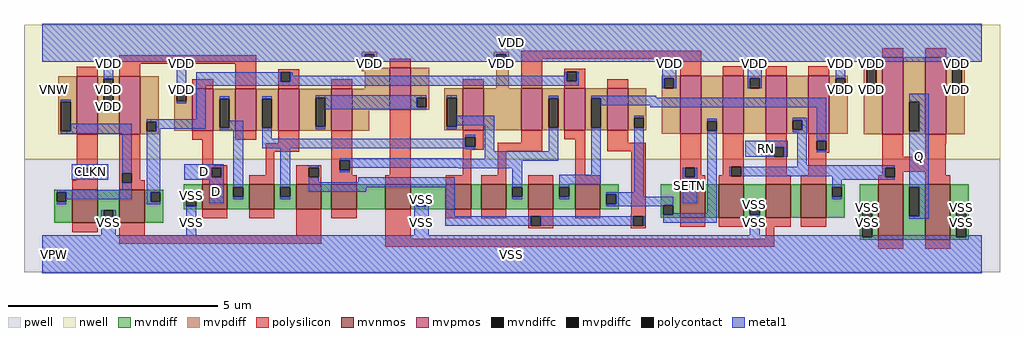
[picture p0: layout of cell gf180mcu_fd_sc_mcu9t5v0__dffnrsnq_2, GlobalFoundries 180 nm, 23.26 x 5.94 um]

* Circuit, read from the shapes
.subckt gf180mcu_fd_sc_mcu9t5v0__dffnrsnq_2 D RN SETN CLKN Q VDD VNW VPW VSS
XM1 VSS CLKN n1 VPW nfet_06v0 w=0.79u l=0.6u
XM2 n2 n1 VSS VPW nfet_06v0 w=0.79u l=0.6u
XM3 n3 D VSS VPW nfet_06v0 w=0.59u l=0.6u
XM4 n4 n2 n3 VPW nfet_06v0 w=0.59u l=0.6u
XM5 n5 n1 n4 VPW nfet_06v0 w=0.59u l=0.6u
XM6 n6 n7 n5 VPW nfet_06v0 w=0.59u l=0.6u
XM7 VSS RN n6 VPW nfet_06v0 w=0.59u l=0.6u
XM8 n8 n4 VSS VPW nfet_06v0 w=0.59u l=0.6u
XM9 n7 SETN n8 VPW nfet_06v0 w=0.59u l=0.6u
XM10 n9 n1 n7 VPW nfet_06v0 w=0.59u l=0.6u
XM11 n10 n2 n9 VPW nfet_06v0 w=0.59u l=0.6u
XM12 n11 SETN n10 VPW nfet_06v0 w=0.79u l=0.6u
XM13 VSS n12 n11 VPW nfet_06v0 w=0.79u l=0.6u
XM14 n13 RN VSS VPW nfet_06v0 w=0.79u l=0.6u
XM15 n12 n9 n13 VPW nfet_06v0 w=0.79u l=0.6u
XM16 Q n12 VSS VPW nfet_06v0 w=1.32u l=0.6u m=2
XM17 VDD CLKN n1 VNW pfet_06v0 w=1.38u l=0.5u
XM18 n2 n1 VDD VNW pfet_06v0 w=1.38u l=0.5u
XM19 n3 D VDD VNW pfet_06v0 w=1u l=0.5u
XM20 n4 n1 n3 VNW pfet_06v0 w=1u l=0.5u
XM21 n14 n2 n4 VNW pfet_06v0 w=1u l=0.5u
XM22 VDD n7 n14 VNW pfet_06v0 w=1u l=0.5u
XM23 n14 RN VDD VNW pfet_06v0 w=1u l=0.5u
XM24 VDD n4 n7 VNW pfet_06v0 w=1u l=0.5u
XM25 n7 SETN VDD VNW pfet_06v0 w=1u l=0.5u
XM26 n9 n2 n7 VNW pfet_06v0 w=1u l=0.5u
XM27 n10 n1 n9 VNW pfet_06v0 w=1u l=0.5u
XM28 n10 SETN VDD VNW pfet_06v0 w=1.38u l=0.5u
XM29 VDD n12 n10 VNW pfet_06v0 w=1.38u l=0.5u
XM30 n12 RN VDD VNW pfet_06v0 w=1.38u l=0.5u
XM31 VDD n9 n12 VNW pfet_06v0 w=1.38u l=0.5u
XM32 Q n12 VDD VNW pfet_06v0 w=1.83u l=0.5u m=2
.ends

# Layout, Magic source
magic
tech gf180mcuD
magscale 1 10
<< nwell >>
rect -86 453 4566 1094
<< pwell >>
rect -86 -86 4566 453
<< mvnmos >>
rect 145 150 265 308
rect 369 150 489 308
rect 763 215 883 333
rect 987 215 1107 333
rect 1211 215 1331 333
rect 1379 215 1499 333
rect 1637 215 1757 333
rect 1925 215 2045 333
rect 2093 215 2213 333
rect 2317 215 2437 333
rect 2541 215 2661 333
rect 3041 175 3161 333
rect 3225 175 3345 333
rect 3449 175 3569 333
rect 3617 175 3737 333
rect 3985 69 4105 333
rect 4209 69 4329 333
<< mvpmos >>
rect 165 573 265 849
rect 369 573 469 849
rect 717 589 817 789
rect 921 589 1021 789
rect 1125 589 1225 789
rect 1379 589 1479 789
rect 1657 688 1757 888
rect 2005 591 2105 791
rect 2285 591 2385 791
rect 2489 591 2589 791
rect 2693 591 2793 791
rect 3041 575 3141 851
rect 3245 575 3345 851
rect 3449 575 3549 851
rect 3653 575 3753 851
rect 4005 573 4105 939
rect 4209 573 4309 939
<< mvndiff >>
rect 57 295 145 308
rect 57 249 70 295
rect 116 249 145 295
rect 57 150 145 249
rect 265 209 369 308
rect 265 163 294 209
rect 340 163 369 209
rect 265 150 369 163
rect 489 295 577 308
rect 489 249 518 295
rect 564 249 577 295
rect 489 150 577 249
rect 675 274 763 333
rect 675 228 688 274
rect 734 228 763 274
rect 675 215 763 228
rect 883 320 987 333
rect 883 274 912 320
rect 958 274 987 320
rect 883 215 987 274
rect 1107 320 1211 333
rect 1107 274 1136 320
rect 1182 274 1211 320
rect 1107 215 1211 274
rect 1331 215 1379 333
rect 1499 215 1637 333
rect 1757 274 1925 333
rect 1757 228 1786 274
rect 1832 228 1925 274
rect 1757 215 1925 228
rect 2045 215 2093 333
rect 2213 320 2317 333
rect 2213 274 2242 320
rect 2288 274 2317 320
rect 2213 215 2317 274
rect 2437 320 2541 333
rect 2437 274 2466 320
rect 2512 274 2541 320
rect 2437 215 2541 274
rect 2661 285 2749 333
rect 2661 239 2690 285
rect 2736 239 2749 285
rect 2661 215 2749 239
rect 2949 234 3041 333
rect 2949 188 2962 234
rect 3008 188 3041 234
rect 2949 175 3041 188
rect 3161 175 3225 333
rect 3345 234 3449 333
rect 3345 188 3374 234
rect 3420 188 3449 234
rect 3345 175 3449 188
rect 3569 175 3617 333
rect 3737 320 3825 333
rect 3737 274 3766 320
rect 3812 274 3825 320
rect 3737 175 3825 274
rect 3897 222 3985 333
rect 3897 82 3910 222
rect 3956 82 3985 222
rect 3897 69 3985 82
rect 4105 320 4209 333
rect 4105 180 4134 320
rect 4180 180 4209 320
rect 4105 69 4209 180
rect 4329 222 4417 333
rect 4329 82 4358 222
rect 4404 82 4417 222
rect 4329 69 4417 82
<< mvpdiff >>
rect 1525 953 1597 966
rect 77 726 165 849
rect 77 586 90 726
rect 136 586 165 726
rect 77 573 165 586
rect 265 836 369 849
rect 265 696 294 836
rect 340 696 369 836
rect 265 573 369 696
rect 469 632 557 849
rect 1525 907 1538 953
rect 1584 907 1597 953
rect 2153 953 2225 966
rect 1525 888 1597 907
rect 2153 907 2166 953
rect 2212 907 2225 953
rect 2153 894 2225 907
rect 1525 872 1657 888
rect 1539 789 1657 872
rect 469 586 498 632
rect 544 586 557 632
rect 629 776 717 789
rect 629 730 642 776
rect 688 730 717 776
rect 629 589 717 730
rect 817 742 921 789
rect 817 602 846 742
rect 892 602 921 742
rect 817 589 921 602
rect 1021 742 1125 789
rect 1021 602 1050 742
rect 1096 602 1125 742
rect 1021 589 1125 602
rect 1225 747 1379 789
rect 1225 607 1304 747
rect 1350 607 1379 747
rect 1225 589 1379 607
rect 1479 688 1657 789
rect 1757 747 1845 888
rect 2165 791 2225 894
rect 3917 926 4005 939
rect 2953 838 3041 851
rect 2953 792 2966 838
rect 3012 792 3041 838
rect 1757 701 1786 747
rect 1832 701 1845 747
rect 1757 688 1845 701
rect 1917 747 2005 791
rect 1479 589 1559 688
rect 469 573 557 586
rect 1917 607 1930 747
rect 1976 607 2005 747
rect 1917 591 2005 607
rect 2105 591 2285 791
rect 2385 744 2489 791
rect 2385 604 2414 744
rect 2460 604 2489 744
rect 2385 591 2489 604
rect 2589 744 2693 791
rect 2589 604 2618 744
rect 2664 604 2693 744
rect 2589 591 2693 604
rect 2793 650 2881 791
rect 2793 604 2822 650
rect 2868 604 2881 650
rect 2793 591 2881 604
rect 2953 575 3041 792
rect 3141 634 3245 851
rect 3141 588 3170 634
rect 3216 588 3245 634
rect 3141 575 3245 588
rect 3345 838 3449 851
rect 3345 792 3374 838
rect 3420 792 3449 838
rect 3345 575 3449 792
rect 3549 639 3653 851
rect 3549 593 3578 639
rect 3624 593 3653 639
rect 3549 575 3653 593
rect 3753 838 3841 851
rect 3753 792 3782 838
rect 3828 792 3841 838
rect 3753 575 3841 792
rect 3917 786 3930 926
rect 3976 786 4005 926
rect 3917 573 4005 786
rect 4105 726 4209 939
rect 4105 586 4134 726
rect 4180 586 4209 726
rect 4105 573 4209 586
rect 4309 926 4397 939
rect 4309 786 4338 926
rect 4384 786 4397 926
rect 4309 573 4397 786
<< mvndiffc >>
rect 70 249 116 295
rect 294 163 340 209
rect 518 249 564 295
rect 688 228 734 274
rect 912 274 958 320
rect 1136 274 1182 320
rect 1786 228 1832 274
rect 2242 274 2288 320
rect 2466 274 2512 320
rect 2690 239 2736 285
rect 2962 188 3008 234
rect 3374 188 3420 234
rect 3766 274 3812 320
rect 3910 82 3956 222
rect 4134 180 4180 320
rect 4358 82 4404 222
<< mvpdiffc >>
rect 90 586 136 726
rect 294 696 340 836
rect 1538 907 1584 953
rect 2166 907 2212 953
rect 498 586 544 632
rect 642 730 688 776
rect 846 602 892 742
rect 1050 602 1096 742
rect 1304 607 1350 747
rect 2966 792 3012 838
rect 1786 701 1832 747
rect 1930 607 1976 747
rect 2414 604 2460 744
rect 2618 604 2664 744
rect 2822 604 2868 650
rect 3170 588 3216 634
rect 3374 792 3420 838
rect 3578 593 3624 639
rect 3782 792 3828 838
rect 3930 786 3976 926
rect 4134 586 4180 726
rect 4338 786 4384 926
<< polysilicon >>
rect 369 909 1021 949
rect 165 849 265 893
rect 369 849 469 909
rect 717 789 817 833
rect 921 789 1021 909
rect 1657 888 1757 932
rect 1125 868 1225 881
rect 1125 822 1138 868
rect 1184 822 1225 868
rect 1125 789 1225 822
rect 1379 789 1479 833
rect 2005 791 2105 835
rect 2285 931 3141 971
rect 4005 939 4105 983
rect 4209 939 4309 983
rect 2285 791 2385 931
rect 2489 870 2589 883
rect 2489 824 2502 870
rect 2548 824 2589 870
rect 3041 851 3141 931
rect 3245 851 3345 895
rect 3449 851 3549 895
rect 3653 851 3753 895
rect 2489 791 2589 824
rect 2693 791 2793 835
rect 165 411 265 573
rect 165 365 178 411
rect 224 365 265 411
rect 165 352 265 365
rect 145 308 265 352
rect 369 387 469 573
rect 717 545 817 589
rect 921 545 1021 589
rect 369 341 382 387
rect 428 352 469 387
rect 763 425 817 545
rect 1125 529 1225 589
rect 1067 489 1225 529
rect 763 412 883 425
rect 763 366 809 412
rect 855 366 883 412
rect 1067 377 1107 489
rect 1379 447 1479 589
rect 428 341 489 352
rect 369 308 489 341
rect 763 333 883 366
rect 987 333 1107 377
rect 1211 412 1331 425
rect 1211 366 1272 412
rect 1318 366 1331 412
rect 1211 333 1331 366
rect 1379 401 1420 447
rect 1466 401 1479 447
rect 1379 377 1479 401
rect 1657 377 1757 688
rect 2005 558 2105 591
rect 2005 512 2018 558
rect 2064 512 2105 558
rect 2285 531 2385 591
rect 2489 547 2589 591
rect 2005 499 2105 512
rect 2005 377 2045 499
rect 2173 491 2385 531
rect 2173 377 2213 491
rect 2541 377 2589 547
rect 2693 531 2793 591
rect 2693 491 2878 531
rect 1379 333 1499 377
rect 1637 333 1757 377
rect 1925 333 2045 377
rect 2093 333 2213 377
rect 2317 333 2437 377
rect 2541 333 2661 377
rect 763 171 883 215
rect 987 171 1107 215
rect 145 106 265 150
rect 369 90 489 150
rect 1211 90 1331 215
rect 1379 171 1499 215
rect 369 50 1331 90
rect 1637 75 1757 215
rect 1925 171 2045 215
rect 2093 171 2213 215
rect 2317 182 2437 215
rect 2317 136 2330 182
rect 2376 136 2437 182
rect 2541 171 2661 215
rect 2809 190 2878 491
rect 3041 412 3141 575
rect 3041 366 3065 412
rect 3111 377 3141 412
rect 3245 418 3345 575
rect 3245 377 3286 418
rect 3111 366 3161 377
rect 3041 333 3161 366
rect 3225 372 3286 377
rect 3332 372 3345 418
rect 3225 333 3345 372
rect 3449 510 3549 575
rect 3449 464 3490 510
rect 3536 464 3549 510
rect 3449 377 3549 464
rect 3653 542 3753 575
rect 3653 496 3692 542
rect 3738 496 3753 542
rect 3653 483 3753 496
rect 3653 377 3737 483
rect 4005 465 4105 573
rect 4209 529 4309 573
rect 4209 465 4308 529
rect 4005 412 4308 465
rect 4005 377 4018 412
rect 3449 333 3569 377
rect 3617 333 3737 377
rect 3985 366 4018 377
rect 4064 393 4308 412
rect 4064 366 4105 393
rect 3985 333 4105 366
rect 4209 377 4308 393
rect 4209 333 4329 377
rect 2806 182 2878 190
rect 2317 123 2437 136
rect 2806 136 2819 182
rect 2865 136 2878 182
rect 2806 123 2878 136
rect 3041 131 3161 175
rect 3225 131 3345 175
rect 3449 131 3569 175
rect 3617 131 3737 175
rect 3449 75 3489 131
rect 1637 35 3489 75
rect 3985 25 4105 69
rect 4209 25 4329 69
<< polycontact >>
rect 1138 822 1184 868
rect 2502 824 2548 870
rect 178 365 224 411
rect 382 341 428 387
rect 809 366 855 412
rect 1272 366 1318 412
rect 1420 401 1466 447
rect 2018 512 2064 558
rect 2330 136 2376 182
rect 3065 366 3111 412
rect 3286 372 3332 418
rect 3490 464 3536 510
rect 3692 496 3738 542
rect 4018 366 4064 412
rect 2819 136 2865 182
<< metal1 >>
rect 0 953 4480 1098
rect 0 918 1538 953
rect 294 836 340 918
rect 90 726 136 737
rect 642 776 688 918
rect 1584 918 2166 953
rect 1538 896 1584 907
rect 2212 926 4480 953
rect 2212 918 3930 926
rect 2166 896 2212 907
rect 642 719 688 730
rect 734 822 1138 868
rect 1184 850 1195 868
rect 2491 850 2502 870
rect 1184 824 2502 850
rect 2548 824 2559 870
rect 1184 822 2559 824
rect 734 804 2559 822
rect 2955 838 3023 918
rect 294 685 340 696
rect 734 643 780 804
rect 2955 792 2966 838
rect 3012 792 3023 838
rect 3363 838 3431 918
rect 3363 792 3374 838
rect 3420 792 3431 838
rect 3782 838 3828 918
rect 3782 781 3828 792
rect 3976 918 4338 926
rect 3930 775 3976 786
rect 4384 918 4480 926
rect 4338 775 4384 786
rect 498 632 780 643
rect 136 586 428 621
rect 90 575 428 586
rect 142 411 316 430
rect 142 365 178 411
rect 224 365 316 411
rect 142 354 316 365
rect 382 387 428 575
rect 382 308 428 341
rect 70 295 428 308
rect 116 262 428 295
rect 544 597 780 632
rect 846 742 892 753
rect 1050 742 1096 753
rect 892 602 958 637
rect 544 586 564 597
rect 846 591 958 602
rect 498 295 564 586
rect 678 412 866 430
rect 678 366 809 412
rect 855 366 866 412
rect 678 354 866 366
rect 70 238 116 249
rect 498 249 518 295
rect 498 238 564 249
rect 688 274 734 285
rect 798 242 866 354
rect 912 320 958 591
rect 1050 550 1096 602
rect 1304 747 1832 758
rect 1350 701 1786 747
rect 1350 690 1832 701
rect 1930 747 1976 758
rect 1304 596 1350 607
rect 2414 744 2460 755
rect 1976 615 2156 661
rect 1930 596 1976 607
rect 2018 558 2064 569
rect 1050 512 2018 550
rect 1050 504 2064 512
rect 912 263 958 274
rect 1136 320 1182 504
rect 2018 501 2064 504
rect 2110 491 2156 615
rect 2414 491 2460 604
rect 1420 455 2001 458
rect 2110 455 2460 491
rect 1420 447 2460 455
rect 1272 412 1318 423
rect 1466 445 2460 447
rect 2618 746 2927 755
rect 2618 744 3738 746
rect 2664 709 3738 744
rect 2899 700 3738 709
rect 1466 412 2288 445
rect 1984 409 2288 412
rect 1420 390 1466 401
rect 1272 344 1318 366
rect 1506 344 1967 366
rect 1272 320 1967 344
rect 1272 298 1546 320
rect 1136 263 1182 274
rect 283 163 294 209
rect 340 163 351 209
rect 283 90 351 163
rect 688 90 734 228
rect 1775 228 1786 274
rect 1832 228 1843 274
rect 1775 90 1843 228
rect 1921 182 1967 320
rect 2242 320 2288 409
rect 2618 380 2664 604
rect 2242 263 2288 274
rect 2466 334 2664 380
rect 2822 650 2868 661
rect 2466 320 2512 334
rect 2822 296 2868 604
rect 3170 634 3216 645
rect 2466 263 2512 274
rect 2690 285 2868 296
rect 2736 274 2868 285
rect 3054 366 3065 412
rect 3111 366 3122 412
rect 2736 239 3008 274
rect 3054 242 3122 366
rect 2690 234 3008 239
rect 2690 228 2962 234
rect 3170 196 3216 588
rect 3578 639 3646 650
rect 3624 593 3646 639
rect 3578 582 3646 593
rect 3351 510 3554 542
rect 3351 464 3490 510
rect 3536 464 3554 510
rect 3600 423 3646 582
rect 3692 542 3738 700
rect 3692 485 3738 496
rect 4134 726 4226 766
rect 4180 586 4226 726
rect 3600 418 4064 423
rect 3275 372 3286 418
rect 3332 412 4064 418
rect 3332 372 4018 412
rect 3766 366 4018 372
rect 3766 355 4064 366
rect 3766 320 3812 355
rect 3766 263 3812 274
rect 4134 320 4226 586
rect 3008 188 3216 196
rect 1921 136 2330 182
rect 2376 136 2819 182
rect 2865 136 2876 182
rect 2962 150 3216 188
rect 3374 234 3420 245
rect 3374 90 3420 188
rect 3910 222 3956 233
rect 0 82 3910 90
rect 4180 180 4226 320
rect 4134 169 4226 180
rect 4358 222 4404 233
rect 3956 82 4358 90
rect 4404 82 4480 90
rect 0 -90 4480 82
<< labels >>
flabel metal1 s 142 354 316 430 0 FreeSans 200 0 0 0 CLKN
port 4 nsew clock input
flabel metal1 s 678 354 866 430 0 FreeSans 200 0 0 0 D
port 1 nsew default input
flabel metal1 s 4134 169 4226 766 0 FreeSans 200 0 0 0 Q
port 5 nsew default output
flabel metal1 s 3351 464 3554 542 0 FreeSans 200 0 0 0 RN
port 2 nsew default input
flabel metal1 s 3054 242 3122 412 0 FreeSans 200 0 0 0 SETN
port 3 nsew default input
flabel metal1 s 0 918 4480 1098 0 FreeSans 200 0 0 0 VDD
port 6 nsew power bidirectional abutment
flabel metal1 s 688 274 734 285 0 FreeSans 200 0 0 0 VSS
port 9 nsew ground bidirectional abutment
flabel nwell s 10 734 110 834 0 FreeSans 400 0 0 0 VNW
port 7 nsew power bidirectional
flabel pwell s 10 -50 110 50 0 FreeSans 400 0 0 0 VPW
port 8 nsew ground bidirectional
rlabel metal1 s 798 242 866 354 1 D
port 1 nsew default input
rlabel metal1 s 4338 896 4384 918 1 VDD
port 6 nsew power bidirectional abutment
rlabel metal1 s 3930 896 3976 918 1 VDD
port 6 nsew power bidirectional abutment
rlabel metal1 s 3782 896 3828 918 1 VDD
port 6 nsew power bidirectional abutment
rlabel metal1 s 3363 896 3431 918 1 VDD
port 6 nsew power bidirectional abutment
rlabel metal1 s 2955 896 3023 918 1 VDD
port 6 nsew power bidirectional abutment
rlabel metal1 s 2166 896 2212 918 1 VDD
port 6 nsew power bidirectional abutment
rlabel metal1 s 1538 896 1584 918 1 VDD
port 6 nsew power bidirectional abutment
rlabel metal1 s 642 896 688 918 1 VDD
port 6 nsew power bidirectional abutment
rlabel metal1 s 294 896 340 918 1 VDD
port 6 nsew power bidirectional abutment
rlabel metal1 s 4338 792 4384 896 1 VDD
port 6 nsew power bidirectional abutment
rlabel metal1 s 3930 792 3976 896 1 VDD
port 6 nsew power bidirectional abutment
rlabel metal1 s 3782 792 3828 896 1 VDD
port 6 nsew power bidirectional abutment
rlabel metal1 s 3363 792 3431 896 1 VDD
port 6 nsew power bidirectional abutment
rlabel metal1 s 2955 792 3023 896 1 VDD
port 6 nsew power bidirectional abutment
rlabel metal1 s 642 792 688 896 1 VDD
port 6 nsew power bidirectional abutment
rlabel metal1 s 294 792 340 896 1 VDD
port 6 nsew power bidirectional abutment
rlabel metal1 s 4338 781 4384 792 1 VDD
port 6 nsew power bidirectional abutment
rlabel metal1 s 3930 781 3976 792 1 VDD
port 6 nsew power bidirectional abutment
rlabel metal1 s 3782 781 3828 792 1 VDD
port 6 nsew power bidirectional abutment
rlabel metal1 s 642 781 688 792 1 VDD
port 6 nsew power bidirectional abutment
rlabel metal1 s 294 781 340 792 1 VDD
port 6 nsew power bidirectional abutment
rlabel metal1 s 4338 775 4384 781 1 VDD
port 6 nsew power bidirectional abutment
rlabel metal1 s 3930 775 3976 781 1 VDD
port 6 nsew power bidirectional abutment
rlabel metal1 s 642 775 688 781 1 VDD
port 6 nsew power bidirectional abutment
rlabel metal1 s 294 775 340 781 1 VDD
port 6 nsew power bidirectional abutment
rlabel metal1 s 642 719 688 775 1 VDD
port 6 nsew power bidirectional abutment
rlabel metal1 s 294 719 340 775 1 VDD
port 6 nsew power bidirectional abutment
rlabel metal1 s 294 685 340 719 1 VDD
port 6 nsew power bidirectional abutment
rlabel metal1 s 1775 245 1843 274 1 VSS
port 9 nsew ground bidirectional abutment
rlabel metal1 s 688 245 734 274 1 VSS
port 9 nsew ground bidirectional abutment
rlabel metal1 s 3374 233 3420 245 1 VSS
port 9 nsew ground bidirectional abutment
rlabel metal1 s 1775 233 1843 245 1 VSS
port 9 nsew ground bidirectional abutment
rlabel metal1 s 688 233 734 245 1 VSS
port 9 nsew ground bidirectional abutment
rlabel metal1 s 4358 209 4404 233 1 VSS
port 9 nsew ground bidirectional abutment
rlabel metal1 s 3910 209 3956 233 1 VSS
port 9 nsew ground bidirectional abutment
rlabel metal1 s 3374 209 3420 233 1 VSS
port 9 nsew ground bidirectional abutment
rlabel metal1 s 1775 209 1843 233 1 VSS
port 9 nsew ground bidirectional abutment
rlabel metal1 s 688 209 734 233 1 VSS
port 9 nsew ground bidirectional abutment
rlabel metal1 s 4358 90 4404 209 1 VSS
port 9 nsew ground bidirectional abutment
rlabel metal1 s 3910 90 3956 209 1 VSS
port 9 nsew ground bidirectional abutment
rlabel metal1 s 3374 90 3420 209 1 VSS
port 9 nsew ground bidirectional abutment
rlabel metal1 s 1775 90 1843 209 1 VSS
port 9 nsew ground bidirectional abutment
rlabel metal1 s 688 90 734 209 1 VSS
port 9 nsew ground bidirectional abutment
rlabel metal1 s 283 90 351 209 1 VSS
port 9 nsew ground bidirectional abutment
rlabel metal1 s 0 -90 4480 90 1 VSS
port 9 nsew ground bidirectional abutment
<< properties >>
string FIXED_BBOX 0 0 4480 1008
string GDS_END 541412
string GDS_FILE $PDKPATH/libs.ref/gf180mcu_fd_sc_mcu9t5v0/gds/gf180mcu_fd_sc_mcu9t5v0.gds
string GDS_START 531184
string LEFclass core
string LEFsite GF018hv5v_green_sc9
string LEFsymmetry X Y
<< end >>
